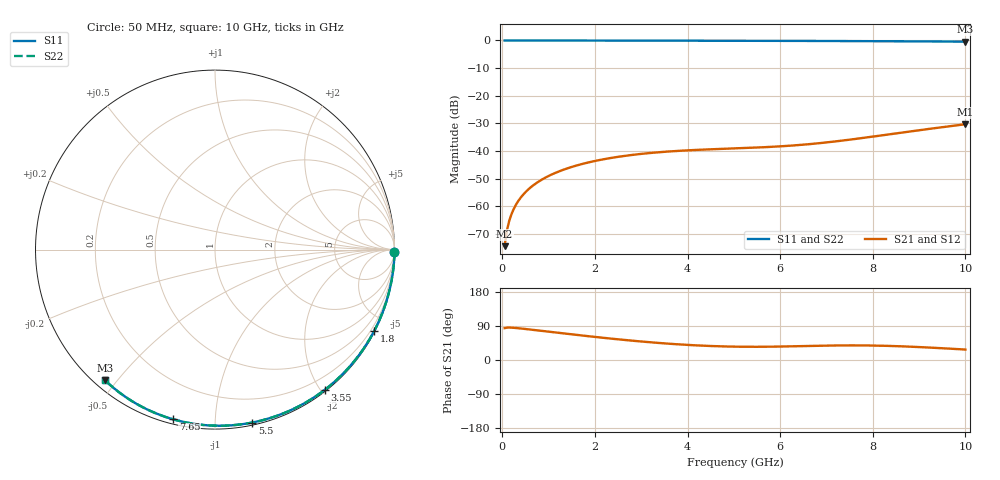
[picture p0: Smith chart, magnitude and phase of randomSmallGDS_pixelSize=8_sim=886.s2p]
! freq	dB(S11)	phase(S11)	dB(S12)	phase(S12)
!  dB(S21)	phase(S21)	dB(S22)	phase(S22)
!S-par simulation data
#  GHz  S  DB  R 50
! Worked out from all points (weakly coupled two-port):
!   200 points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, 50 MHz to 10 GHz, reference 50 ohm
!   highest |S21| = -30.33 dB at 10 GHz (marker M1); lowest = -74.5 dB at 50 MHz (marker M2)
!   lowest |S11| = -0.4 dB at 10 GHz (marker M3), VSWR 40.36, Z = 1.51 - j23.2 ohm
!   |S11| at or under -10 dB: nowhere
!   |S22| runs from -0.4 to 0.0 dB; largest |S21 - S12| = 0
!   S11 on the Smith chart (normalised r, x): 50 MHz: open; 1.8 GHz: 0.04, -4.17; 3.55 GHz: 0.02, -2.05; 5.5 GHz: 0.02, -1.24; 7.65 GHz: 0.02, -0.78; 10 GHz: 0.03, -0.46
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0.05  -0.00 -0.8  -74.48 84.1  -74.48 84.1  -0.00 -0.8
0.1  -0.00 -1.5  -68.74 85.4  -68.74 85.4  -0.00 -1.5
0.15  -0.00 -2.3  -65.29 85.6  -65.29 85.6  -0.00 -2.3
0.2  -0.00 -3.1  -62.82 85.4  -62.82 85.4  -0.00 -3.1
0.25  -0.00 -3.8  -60.90 84.9  -60.90 84.9  -0.00 -3.8
0.35  -0.00 -5.3  -58.00 83.8  -58.00 83.8  -0.00 -5.3
0.5  -0.01 -7.6  -54.93 81.8  -54.93 81.8  -0.01 -7.6
0.7  -0.01 -10.6  -52.06 79.1  -52.06 79.1  -0.01 -10.6
1  -0.02 -15.1  -49.06 74.8  -49.06 74.8  -0.02 -15.1
1.35  -0.03 -20.3  -46.62 69.8  -46.62 69.8  -0.03 -20.3
1.75  -0.03 -26.3  -44.61 64.3  -44.61 64.3  -0.03 -26.3
1.8  -0.03 -27.0  -44.40 63.6  -44.40 63.6  -0.03 -27.0
2.5  -0.05 -37.2  -42.13 54.5  -42.13 54.5  -0.05 -37.2
3.4  -0.07 -49.9  -40.44 44.8  -40.44 44.8  -0.07 -49.9
3.55  -0.07 -52.0  -40.25 43.4  -40.25 43.4  -0.07 -52.0
4.3  -0.09 -62.2  -39.54 37.9  -39.54 37.9  -0.09 -62.2
5.05  -0.11 -72.1  -39.06 35.2  -39.06 35.2  -0.11 -72.1
5.5  -0.13 -77.9  -38.77 34.8  -38.77 34.8  -0.13 -77.9
6.7  -0.18 -92.7  -37.43 37.3  -37.43 37.3  -0.18 -92.7
7.65  -0.23 -103.9  -35.60 38.6  -35.60 38.6  -0.23 -103.9
8.35  -0.28 -111.9  -34.00 37.2  -34.00 37.2  -0.28 -111.9
10  -0.43 -130.1  -30.33 27.6  -30.33 27.6  -0.43 -130.1
